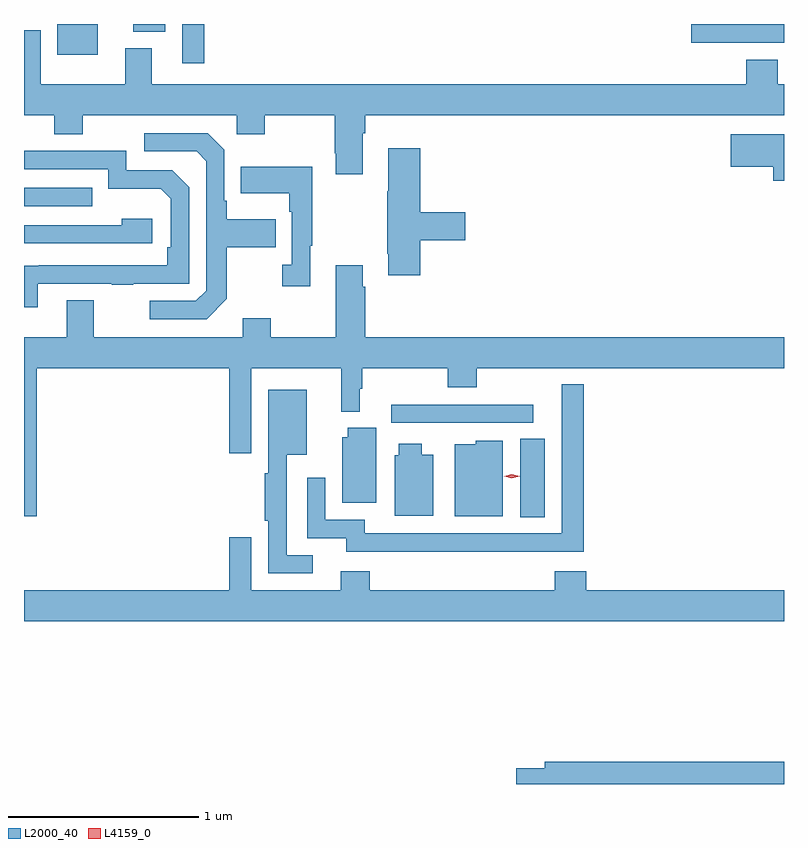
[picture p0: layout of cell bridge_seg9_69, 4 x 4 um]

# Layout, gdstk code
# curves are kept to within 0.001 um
import gdstk
lib = gdstk.Library(unit=1e-6, precision=1e-09)
def R(c, l, rs):  # rectangles x0, y0, x1, y1
    for r in rs: c.add(gdstk.rectangle(r[:2], r[2:], *l))
def P(c, l, *ps):  # polygons
    for p in ps: c.add(gdstk.Polygon(p, *l))
L2000_40 = (2000, 40)
L4159_0 = (4159, 0)

bridge_seg9_69 = lib.new_cell('bridge_seg9_69')
R(bridge_seg9_69, L2000_40, [(1044.254,1184.98,1044.385,1185.392), (1043.577,1185.477,1044.322,1185.573), (1041.643,1186.617,1042.001,1186.713), (1042.476,1187.37,1042.592,1187.576), (1041.818,1187.414,1042.03,1187.576), (1042.217,1187.534,1042.387,1187.576)])
P(bridge_seg9_69, L2000_40, [(1045.643,1187.576),(1045.478,1187.576),(1045.478,1187.575),(1045.155,1187.575),(1045.155,1187.478),(1045.643,1187.478)],
  [(1043.425,1187),(1043.438,1187),(1043.438,1187.096),(1045.643,1187.096),(1045.643,1187.26),(1045.609,1187.26),(1045.609,1187.389),(1045.445,1187.389),(1045.445,1187.26),(1042.315,1187.26),(1042.315,1187.449),(1042.175,1187.449),(1042.175,1187.26),(1041.73,1187.26),(1041.73,1187.542),(1041.643,1187.542),(1041.643,1187.096),(1041.803,1187.096),(1041.803,1186.997),(1041.951,1186.997),(1041.951,1187.096),(1042.764,1187.096),(1042.764,1186.997),(1042.911,1186.997),(1042.911,1187.096),(1043.278,1187.096),(1043.278,1186.897),(1043.285,1186.897),(1043.285,1186.785),(1043.425,1186.785)],
  [(1042.711,1186.129),(1042.711,1186.402),(1042.967,1186.402),(1042.967,1186.549),(1042.711,1186.549),(1042.711,1186.645),(1042.698,1186.645),(1042.698,1186.914),(1042.611,1187.001),(1042.275,1187.001),(1042.275,1186.905),(1042.551,1186.905),(1042.602,1186.854),(1042.602,1186.173),(1042.548,1186.119),(1042.305,1186.119),(1042.305,1186.023),(1042.605,1186.023)],
  [(1045.643,1186.996),(1045.362,1186.996),(1045.362,1186.826),(1045.586,1186.826),(1045.586,1186.751),(1045.643,1186.751)],
  [(1043.728,1186.439),(1043.965,1186.439),(1043.965,1186.586),(1043.728,1186.586),(1043.728,1186.921),(1043.561,1186.921),(1043.561,1186.697),(1043.554,1186.697),(1043.554,1186.366),(1043.561,1186.366),(1043.561,1186.254),(1043.728,1186.254)],
  [(1041.715,1186.209),(1042.105,1186.209),(1042.105,1186.204),(1042.217,1186.204),(1042.217,1186.209),(1042.512,1186.209),(1042.512,1186.716),(1042.422,1186.806),(1042.182,1186.806),(1042.182,1186.908),(1041.643,1186.908),(1041.643,1186.812),(1042.086,1186.812),(1042.086,1186.709),(1042.363,1186.709),(1042.416,1186.656),(1042.416,1186.402),(1042.396,1186.402),(1042.396,1186.305),(1041.643,1186.304),(1041.643,1186.086),(1041.715,1186.086)],
  [(1043.149,1186.409),(1043.161,1186.409),(1043.161,1186.825),(1042.783,1186.825),(1042.783,1186.685),(1043.04,1186.685),(1043.04,1186.589),(1043.052,1186.589),(1043.052,1186.31),(1043.001,1186.31),(1043.001,1186.197),(1043.149,1186.197)],
  [(1042.318,1186.552),(1042.157,1186.552),(1042.157,1186.518),(1041.643,1186.518),(1041.643,1186.422),(1042.318,1186.422)],
  [(1041.71,1185.764),(1042.723,1185.764),(1042.723,1185.318),(1042.839,1185.318),(1042.839,1185.764),(1043.312,1185.764),(1043.312,1185.535),(1043.41,1185.535),(1043.41,1185.656),(1043.422,1185.656),(1043.422,1185.764),(1043.872,1185.764),(1043.872,1185.665),(1044.027,1185.665),(1044.027,1185.764),(1045.643,1185.764),(1045.643,1185.928),(1043.438,1185.928),(1043.438,1186.193),(1043.425,1186.193),(1043.425,1186.306),(1043.285,1186.306),(1043.285,1185.928),(1042.941,1185.928),(1042.941,1186.027),(1042.793,1186.027),(1042.793,1185.928),(1042.009,1185.928),(1042.009,1186.123),(1041.869,1186.123),(1041.869,1185.928),(1041.643,1185.928),(1041.643,1184.985),(1041.71,1184.985)],
  [(1044.59,1185.679),(1044.474,1185.679),(1044.474,1184.895),(1043.436,1184.895),(1043.436,1184.967),(1043.229,1184.967),(1043.229,1185.187),(1043.133,1185.187),(1043.133,1184.87),(1043.34,1184.87),(1043.34,1184.798),(1044.59,1184.798)],
  [(1043.164,1184.781),(1043.025,1184.781),(1043.025,1185.308),(1043.131,1185.308),(1043.131,1185.652),(1042.928,1185.652),(1042.928,1185.212),(1042.909,1185.212),(1042.909,1184.962),(1042.929,1184.962),(1042.929,1184.685),(1043.164,1184.685)],
  [(1043.497,1185.45),(1043.348,1185.45),(1043.348,1185.4),(1043.318,1185.4),(1043.318,1185.056),(1043.497,1185.056)],
  [(1044.163,1185.382),(1044.021,1185.382),(1044.021,1185.364),(1043.909,1185.364),(1043.909,1184.984),(1044.163,1184.984)],
  [(1043.797,1185.31),(1043.737,1185.31),(1043.737,1185.367),(1043.615,1185.367),(1043.615,1185.306),(1043.594,1185.306),(1043.594,1184.987),(1043.797,1184.987)],
  [(1045.643,1184.596),(1044.602,1184.596),(1044.602,1184.695),(1044.437,1184.695),(1044.437,1184.596),(1043.462,1184.596),(1043.462,1184.695),(1043.309,1184.695),(1043.309,1184.596),(1042.839,1184.596),(1042.839,1184.875),(1042.723,1184.875),(1042.723,1184.596),(1041.643,1184.596),(1041.643,1184.432),(1045.643,1184.432)],
  [(1045.643,1183.694),(1044.383,1183.694),(1044.383,1183.658),(1044.234,1183.658),(1044.234,1183.576),(1045.643,1183.576)])
P(bridge_seg9_69, L4159_0, [(1044.211,1185.186),(1044.17,1185.196),(1044.17,1185.196),(1044.17,1185.196),(1044.211,1185.206),(1044.251,1185.196),(1044.252,1185.196),(1044.251,1185.196)])

lib.write_gds('bridge_seg9_69.gds')
